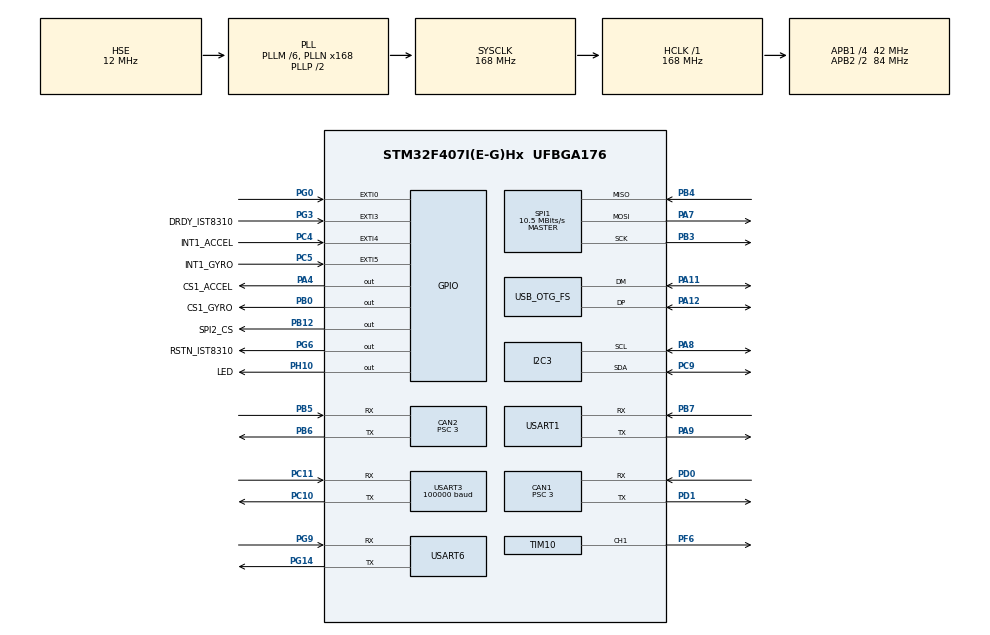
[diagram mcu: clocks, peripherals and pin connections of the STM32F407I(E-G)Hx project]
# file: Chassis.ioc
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CAN1.BS1=CAN_BS1_10TQ
CAN1.BS2=CAN_BS2_3TQ
CAN1.CalculateBaudRate=1000000
CAN1.CalculateTimeBit=1000
CAN1.CalculateTimeQuantum=71.42857142857143
CAN1.Prescaler=3
CAN2.BS1=CAN_BS1_10TQ
CAN2.BS2=CAN_BS2_3TQ
CAN2.CalculateBaudRate=1000000
CAN2.CalculateTimeBit=1000
CAN2.CalculateTimeQuantum=71.42857142857143
CAN2.Prescaler=3
Dma.Request0=SPI1_TX
Dma.Request1=USART3_RX
Dma.Request2=USART3_TX
Dma.Request3=USART6_RX
Dma.Request4=USART6_TX
Dma.Request5=USART1_RX
Dma.Request6=USART1_TX
Dma.Request7=SPI1_RX
Dma.SPI1_RX.7.Direction=DMA_PERIPH_TO_MEMORY
Dma.SPI1_RX.7.FIFOMode=DMA_FIFOMODE_DISABLE
Dma.SPI1_RX.7.Instance=DMA2_Stream2
Dma.SPI1_RX.7.MemDataAlignment=DMA_MDATAALIGN_BYTE
Dma.SPI1_RX.7.MemInc=DMA_MINC_ENABLE
Dma.SPI1_RX.7.Mode=DMA_NORMAL
Dma.SPI1_RX.7.PeriphDataAlignment=DMA_PDATAALIGN_BYTE
Dma.SPI1_RX.7.PeriphInc=DMA_PINC_DISABLE
Dma.SPI1_RX.7.Priority=DMA_PRIORITY_VERY_HIGH
Dma.SPI1_TX.0.Direction=DMA_MEMORY_TO_PERIPH
Dma.SPI1_TX.0.FIFOMode=DMA_FIFOMODE_DISABLE
Dma.SPI1_TX.0.Instance=DMA2_Stream3
Dma.SPI1_TX.0.MemDataAlignment=DMA_MDATAALIGN_BYTE
Dma.SPI1_TX.0.MemInc=DMA_MINC_ENABLE
Dma.SPI1_TX.0.Mode=DMA_NORMAL
Dma.SPI1_TX.0.PeriphDataAlignment=DMA_PDATAALIGN_BYTE
Dma.SPI1_TX.0.PeriphInc=DMA_PINC_DISABLE
Dma.SPI1_TX.0.Priority=DMA_PRIORITY_HIGH
Dma.USART1_RX.5.Direction=DMA_PERIPH_TO_MEMORY
Dma.USART1_RX.5.FIFOMode=DMA_FIFOMODE_DISABLE
Dma.USART1_RX.5.Instance=DMA2_Stream5
Dma.USART1_RX.5.MemDataAlignment=DMA_MDATAALIGN_BYTE
Dma.USART1_RX.5.MemInc=DMA_MINC_ENABLE
Dma.USART1_RX.5.Mode=DMA_NORMAL
Dma.USART1_RX.5.PeriphDataAlignment=DMA_PDATAALIGN_BYTE
Dma.USART1_RX.5.PeriphInc=DMA_PINC_DISABLE
Dma.USART1_RX.5.Priority=DMA_PRIORITY_LOW
Dma.USART1_TX.6.Direction=DMA_MEMORY_TO_PERIPH
Dma.USART1_TX.6.FIFOMode=DMA_FIFOMODE_DISABLE
Dma.USART1_TX.6.Instance=DMA2_Stream7
Dma.USART1_TX.6.MemDataAlignment=DMA_MDATAALIGN_BYTE
Dma.USART1_TX.6.MemInc=DMA_MINC_ENABLE
Dma.USART1_TX.6.Mode=DMA_NORMAL
Dma.USART1_TX.6.PeriphDataAlignment=DMA_PDATAALIGN_BYTE
Dma.USART1_TX.6.PeriphInc=DMA_PINC_DISABLE
Dma.USART1_TX.6.Priority=DMA_PRIORITY_LOW
Dma.USART3_RX.1.Direction=DMA_PERIPH_TO_MEMORY
Dma.USART3_RX.1.FIFOMode=DMA_FIFOMODE_DISABLE
Dma.USART3_RX.1.Instance=DMA1_Stream1
Dma.USART3_RX.1.MemDataAlignment=DMA_MDATAALIGN_BYTE
Dma.USART3_RX.1.MemInc=DMA_MINC_ENABLE
Dma.USART3_RX.1.Mode=DMA_CIRCULAR
Dma.USART3_RX.1.PeriphDataAlignment=DMA_PDATAALIGN_BYTE
Dma.USART3_RX.1.PeriphInc=DMA_PINC_DISABLE
Dma.USART3_RX.1.Priority=DMA_PRIORITY_VERY_HIGH
Dma.USART3_TX.2.Direction=DMA_MEMORY_TO_PERIPH
Dma.USART3_TX.2.FIFOMode=DMA_FIFOMODE_DISABLE
Dma.USART3_TX.2.Instance=DMA1_Stream3
Dma.USART3_TX.2.MemDataAlignment=DMA_MDATAALIGN_BYTE
Dma.USART3_TX.2.MemInc=DMA_MINC_ENABLE
Dma.USART3_TX.2.Mode=DMA_NORMAL
Dma.USART3_TX.2.PeriphDataAlignment=DMA_PDATAALIGN_BYTE
Dma.USART3_TX.2.PeriphInc=DMA_PINC_DISABLE
Dma.USART3_TX.2.Priority=DMA_PRIORITY_VERY_HIGH
Dma.USART6_RX.3.Direction=DMA_PERIPH_TO_MEMORY
Dma.USART6_RX.3.FIFOMode=DMA_FIFOMODE_DISABLE
Dma.USART6_RX.3.Instance=DMA2_Stream1
Dma.USART6_RX.3.MemDataAlignment=DMA_MDATAALIGN_BYTE
Dma.USART6_RX.3.MemInc=DMA_MINC_ENABLE
Dma.USART6_RX.3.Mode=DMA_CIRCULAR
Dma.USART6_RX.3.PeriphDataAlignment=DMA_PDATAALIGN_BYTE
Dma.USART6_RX.3.PeriphInc=DMA_PINC_DISABLE
Dma.USART6_RX.3.Priority=DMA_PRIORITY_LOW
Dma.USART6_TX.4.Direction=DMA_MEMORY_TO_PERIPH
Dma.USART6_TX.4.FIFOMode=DMA_FIFOMODE_DISABLE
Dma.USART6_TX.4.Instance=DMA2_Stream6
Dma.USART6_TX.4.MemDataAlignment=DMA_MDATAALIGN_BYTE
Dma.USART6_TX.4.MemInc=DMA_MINC_ENABLE
Dma.USART6_TX.4.Mode=DMA_NORMAL
Dma.USART6_TX.4.PeriphDataAlignment=DMA_PDATAALIGN_BYTE
Dma.USART6_TX.4.PeriphInc=DMA_PINC_DISABLE
Dma.USART6_TX.4.Priority=DMA_PRIORITY_LOW
FREERTOS.Tasks01=defaultTask,0,128,StartDefaultTask,Default,NULL,Dynamic,NULL,NULL
I2C3.I2C_Mode=I2C_Fast
Mcu.Family=STM32F4
Mcu.Name=STM32F407I(E-G)Hx
Mcu.Package=UFBGA176
NVIC.CAN1_RX0_IRQn=true\:5\:0\:false\:false\:true\:true\:true\:true\:true
NVIC.CAN1_RX1_IRQn=true\:5\:0\:false\:false\:true\:true\:true\:true\:true
NVIC.CAN1_TX_IRQn=true\:5\:0\:false\:false\:true\:true\:true\:true\:true
NVIC.CAN2_RX0_IRQn=true\:5\:0\:true\:false\:true\:true\:true\:true\:true
NVIC.CAN2_TX_IRQn=true\:5\:0\:true\:false\:true\:true\:true\:true\:true
NVIC.DMA1_Stream1_IRQn=true\:5\:0\:false\:false\:true\:true\:false\:true\:true
NVIC.DMA1_Stream3_IRQn=true\:5\:0\:false\:false\:true\:true\:false\:true\:true
NVIC.DMA2_Stream1_IRQn=true\:5\:0\:false\:false\:true\:true\:false\:true\:true
NVIC.DMA2_Stream2_IRQn=true\:5\:0\:false\:false\:true\:true\:false\:true\:true
NVIC.DMA2_Stream3_IRQn=true\:5\:0\:false\:false\:true\:true\:false\:true\:true
NVIC.DMA2_Stream5_IRQn=true\:5\:0\:false\:false\:true\:true\:false\:true\:true
NVIC.DMA2_Stream6_IRQn=true\:5\:0\:false\:false\:true\:true\:false\:true\:true
NVIC.DMA2_Stream7_IRQn=true\:5\:0\:false\:false\:true\:true\:false\:true\:true
NVIC.EXTI0_IRQn=true\:6\:0\:true\:false\:true\:true\:true\:true\:true
NVIC.EXTI4_IRQn=true\:5\:0\:false\:false\:true\:true\:true\:true\:true
NVIC.EXTI9_5_IRQn=true\:5\:0\:false\:false\:true\:true\:true\:true\:true
NVIC.OTG_FS_IRQn=true\:5\:0\:false\:false\:true\:true\:true\:true\:true
NVIC.PriorityGroup=NVIC_PRIORITYGROUP_4
NVIC.SPI1_IRQn=true\:5\:0\:false\:false\:true\:true\:true\:true\:true
NVIC.TIM3_IRQn=true\:15\:0\:false\:false\:true\:false\:false\:true\:true
NVIC.TimeBase=TIM3_IRQn
NVIC.TimeBaseIP=TIM3
NVIC.USART1_IRQn=true\:5\:0\:false\:false\:true\:true\:true\:true\:true
NVIC.USART3_IRQn=true\:5\:0\:false\:false\:true\:true\:true\:true\:true
NVIC.USART6_IRQn=true\:5\:0\:false\:false\:true\:true\:true\:true\:true
PA11.Mode=Device_Only
PA11.Signal=USB_OTG_FS_DM
PA12.Mode=Device_Only
PA12.Signal=USB_OTG_FS_DP
PA13.Mode=Serial_Wire
PA13.Signal=SYS_JTMS-SWDIO
PA14.Mode=Serial_Wire
PA14.Signal=SYS_JTCK-SWCLK
PA4.GPIO_Label=CS1_ACCEL
PA4.GPIO_ModeDefaultOutputPP=GPIO_MODE_OUTPUT_PP
PA4.GPIO_PuPd=GPIO_PULLUP
PA4.GPIO_Speed=GPIO_SPEED_FREQ_HIGH
PA4.PinState=GPIO_PIN_SET
PA4.Signal=GPIO_Output
PA7.GPIO_PuPd=GPIO_PULLUP
PA7.Mode=Full_Duplex_Master
PA7.Signal=SPI1_MOSI
PA8.Mode=I2C
PA8.Signal=I2C3_SCL
PA9.Mode=Asynchronous
PA9.Signal=USART1_TX
PB0.GPIO_Label=CS1_GYRO
PB0.GPIO_ModeDefaultOutputPP=GPIO_MODE_OUTPUT_PP
PB0.GPIO_PuPd=GPIO_PULLUP
PB0.GPIO_Speed=GPIO_SPEED_FREQ_HIGH
PB0.PinState=GPIO_PIN_SET
PB0.Signal=GPIO_Output
PB12.GPIO_Label=SPI2_CS
PB12.GPIO_ModeDefaultOutputPP=GPIO_MODE_OUTPUT_PP
PB12.GPIO_PuPd=GPIO_PULLUP
PB12.GPIO_Speed=GPIO_SPEED_FREQ_MEDIUM
PB12.PinState=GPIO_PIN_SET
PB12.Signal=GPIO_Output
PB3.GPIO_PuPd=GPIO_PULLUP
PB3.Mode=Full_Duplex_Master
PB3.Signal=SPI1_SCK
PB4.GPIO_PuPd=GPIO_PULLUP
PB4.Mode=Full_Duplex_Master
PB4.Signal=SPI1_MISO
PB5.Mode=CAN_Activate
PB5.Signal=CAN2_RX
PB6.Mode=CAN_Activate
PB6.Signal=CAN2_TX
PB7.Mode=Asynchronous
PB7.Signal=USART1_RX
PC10.Mode=Asynchronous
PC10.Signal=USART3_TX
PC11.Mode=Asynchronous
PC11.Signal=USART3_RX
PC4.GPIO_Label=INT1_ACCEL
PC4.GPIO_PuPd=GPIO_PULLUP
PC4.Signal=GPXTI4
PC5.GPIO_Label=INT1_GYRO
PC5.GPIO_PuPd=GPIO_PULLUP
PC5.Signal=GPXTI5
PC9.Mode=I2C
PC9.Signal=I2C3_SDA
PD0.Mode=CAN_Activate
PD0.Signal=CAN1_RX
PD1.Mode=CAN_Activate
PD1.Signal=CAN1_TX
PF6.GPIO_PuPd=GPIO_PULLUP
PF6.GPIO_Speed=GPIO_SPEED_FREQ_HIGH
PF6.Signal=S_TIM10_CH1
PG0.GPIO_PuPd=GPIO_PULLUP
PG0.Signal=GPXTI0
PG14.Mode=Asynchronous
PG14.Signal=USART6_TX
PG3.GPIO_Label=DRDY_IST8310
PG3.GPIO_PuPd=GPIO_PULLUP
PG3.Signal=GPXTI3
PG6.GPIO_Label=RSTN_IST8310
PG6.GPIO_PuPd=GPIO_PULLUP
PG6.GPIO_Speed=GPIO_SPEED_FREQ_MEDIUM
PG6.PinState=GPIO_PIN_SET
PG6.Signal=GPIO_Output
PG9.Mode=Asynchronous
PG9.Signal=USART6_RX
PH0-OSC_IN.Mode=HSE-External-Oscillator
PH0-OSC_IN.Signal=RCC_OSC_IN
PH1-OSC_OUT.Mode=HSE-External-Oscillator
PH1-OSC_OUT.Signal=RCC_OSC_OUT
PH10.GPIO_Label=LED
PH10.GPIO_ModeDefaultOutputPP=GPIO_MODE_OUTPUT_PP
PH10.GPIO_PuPd=GPIO_PULLUP
PH10.PinState=GPIO_PIN_SET
PH10.Signal=GPIO_Output
ProjectManager.HeapSize=0x2000
ProjectManager.StackSize=0x2000
ProjectManager.TargetToolchain=MDK-ARM V5.32
RCC.48MHZClocksFreq_Value=48000000
RCC.AHBFreq_Value=168000000
RCC.APB1CLKDivider=RCC_HCLK_DIV4
RCC.APB1Freq_Value=42000000
RCC.APB1TimFreq_Value=84000000
RCC.APB2CLKDivider=RCC_HCLK_DIV2
RCC.APB2Freq_Value=84000000
RCC.APB2TimCLKDivider=2
RCC.APB2TimFreq_Value=168000000
RCC.CortexFreq_Value=168000000
RCC.HCLKFreq_Value=168000000
RCC.HSE_VALUE=12000000
RCC.HSI_VALUE=16000000
RCC.LSE_VALUE=32768
RCC.PLLM=6
RCC.PLLN=168
RCC.PLLQ=7
RCC.SYSCLKFreq_VALUE=168000000
RCC.SYSCLKSource=RCC_SYSCLKSOURCE_PLLCLK
RCC.VCOOutputFreq_Value=336000000
SH.S_TIM10_CH1.0=TIM10_CH1,PWM Generation1 CH1
SPI1.BaudRatePrescaler=SPI_BAUDRATEPRESCALER_8
SPI1.CLKPhase=SPI_PHASE_2EDGE
SPI1.CLKPolarity=SPI_POLARITY_HIGH
SPI1.CalculateBaudRate=10.5 MBits/s
SPI1.Direction=SPI_DIRECTION_2LINES
SPI1.Mode=SPI_MODE_MASTER
SPI1.VirtualType=VM_MASTER
TIM10.Channel=TIM_CHANNEL_1
USART1.VirtualMode=VM_ASYNC
USART3.BaudRate=100000
USART3.VirtualMode=VM_ASYNC
USART6.VirtualMode=VM_ASYNC
USB_DEVICE.CLASS_NAME_FS=CDC
USB_DEVICE.VirtualMode-CDC_FS=Cdc
USB_DEVICE.VirtualModeFS=Cdc_FS
USB_OTG_FS.VirtualMode=Device_Only
VP_FREERTOS_VS_CMSIS_V1.Mode=CMSIS_V1
VP_SYS_VS_tim3.Mode=TIM3
VP_TIM10_VS_ClockSourceINT.Mode=Enable_Timer
VP_USB_DEVICE_VS_USB_DEVICE_CDC_FS.Mode=CDC_FS
board=custom

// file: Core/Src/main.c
/* USER CODE BEGIN Header */
/**
  ******************************************************************************
  * @file           : main.c
  * @brief          : Main program body
  ******************************************************************************
  * @attention
  *
  * Copyright (c) 2023 STMicroelectronics.
  * All rights reserved.
  *
  * This software is licensed under terms that can be found in the LICENSE file
  * in the root directory of this software component.
  * If no LICENSE file comes with this software, it is provided AS-IS.
  *
  ******************************************************************************
  */
/* USER CODE END Header */
#include "main.h"
#include "cmsis_os.h"
#include "can.h"
#include "dma.h"
#include "i2c.h"
#include "spi.h"
#include "tim.h"
#include "usart.h"
#include "usb_device.h"
#include "gpio.h"

/* USER CODE BEGIN Includes */
#include "drv_usart.h"
#include "user_can.h"
#include "communication.h"
#include "string.h"
#include "bsp_delay.h"
/* USER CODE END Includes */

void SystemClock_Config(void);
void MX_FREERTOS_Init(void);

/* USER CODE BEGIN 0 */
extern uint8_t rx_buffer[128];

int fputc(int ch, FILE *f)

{

  HAL_UART_Transmit(&huart1, (uint8_t *)&ch, 1, 0xffff);

  return ch;

}
/* USER CODE END 0 */

int main(void)
{

  /* MCU Configuration--------------------------------------------------------*/

  /* Reset of all peripherals, Initializes the Flash interface and the Systick. */
  HAL_Init();

  /* Configure the system clock */
  SystemClock_Config();

  /* Initialize all configured peripherals */
  MX_GPIO_Init();
  MX_DMA_Init();
  MX_CAN2_Init();
  MX_CAN1_Init();
  MX_SPI1_Init();
  MX_I2C3_Init();
  MX_USART3_UART_Init();
  MX_USART6_UART_Init();
  MX_USART1_UART_Init();
  MX_TIM10_Init();
  /* USER CODE BEGIN 2 */
	delay_init();
	HAL_TIM_PWM_Start(&htim10,TIM_CHANNEL_1);
	CAN1_Init();
	CAN2_Init();
  HAL_GPIO_WritePin(LED_GPIO_Port, LED_Pin, GPIO_PIN_SET);
	USART3_Init();
	USART6_Init();
	//__HAL_UART_ENABLE_IT(&huart1,UART_IT_IDLE); //导航数据接收
	HAL_UART_Receive_IT(&huart1,(uint8_t *)rx_buffer,sizeof(rx_buffer));
  /* USER CODE END 2 */

  /* Call init function for freertos objects (in freertos.c) */
  MX_FREERTOS_Init();

  /* Start scheduler */
  osKernelStart();

  /* We should never get here as control is now taken by the scheduler */
  /* Infinite loop */
  while (1)
  {

  }
}

void SystemClock_Config(void)
{
  RCC_OscInitTypeDef RCC_OscInitStruct = {0};
  RCC_ClkInitTypeDef RCC_ClkInitStruct = {0};

  /** Configure the main internal regulator output voltage
  */
  __HAL_RCC_PWR_CLK_ENABLE();
  __HAL_PWR_VOLTAGESCALING_CONFIG(PWR_REGULATOR_VOLTAGE_SCALE1);

  /** Initializes the RCC Oscillators according to the specified parameters
  * in the RCC_OscInitTypeDef structure.
  */
  RCC_OscInitStruct.OscillatorType = RCC_OSCILLATORTYPE_HSE;
  RCC_OscInitStruct.HSEState = RCC_HSE_ON;
  RCC_OscInitStruct.PLL.PLLState = RCC_PLL_ON;
  RCC_OscInitStruct.PLL.PLLSource = RCC_PLLSOURCE_HSE;
  RCC_OscInitStruct.PLL.PLLM = 6;
  RCC_OscInitStruct.PLL.PLLN = 168;
  RCC_OscInitStruct.PLL.PLLP = RCC_PLLP_DIV2;
  RCC_OscInitStruct.PLL.PLLQ = 7;
  if (HAL_RCC_OscConfig(&RCC_OscInitStruct) != HAL_OK)
  {
    Error_Handler();
  }

  /** Initializes the CPU, AHB and APB buses clocks
  */
  RCC_ClkInitStruct.ClockType = RCC_CLOCKTYPE_HCLK|RCC_CLOCKTYPE_SYSCLK
                              |RCC_CLOCKTYPE_PCLK1|RCC_CLOCKTYPE_PCLK2;
  RCC_ClkInitStruct.SYSCLKSource = RCC_SYSCLKSOURCE_PLLCLK;
  RCC_ClkInitStruct.AHBCLKDivider = RCC_SYSCLK_DIV1;
  RCC_ClkInitStruct.APB1CLKDivider = RCC_HCLK_DIV4;
  RCC_ClkInitStruct.APB2CLKDivider = RCC_HCLK_DIV2;

  if (HAL_RCC_ClockConfig(&RCC_ClkInitStruct, FLASH_LATENCY_5) != HAL_OK)
  {
    Error_Handler();
  }
}

void HAL_TIM_PeriodElapsedCallback(TIM_HandleTypeDef *htim)
{
  if (htim->Instance == TIM3) {
    HAL_IncTick();
  }
}

void Error_Handler(void)
{
  __disable_irq();
  while (1)
  {
  }
}

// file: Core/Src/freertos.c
/* USER CODE BEGIN Header */
/**
  ******************************************************************************
  * File Name          : freertos.c
  * Description        : Code for freertos applications
  ******************************************************************************
  * @attention
  *
  * Copyright (c) 2023 STMicroelectronics.
  * All rights reserved.
  *
  * This software is licensed under terms that can be found in the LICENSE file
  * in the root directory of this software component.
  * If no LICENSE file comes with this software, it is provided AS-IS.
  *
  ******************************************************************************
  */
/* USER CODE END Header */

#include "FreeRTOS.h"
#include "task.h"
#include "main.h"
#include "cmsis_os.h"

/* USER CODE BEGIN Includes */
#include "chassis.h"
#include "rc_potocal.h"
#include "INS_task.h"
#include "yaw_task.h"
#include "NRF24L01.h"
/* USER CODE END Includes */

/* USER CODE BEGIN Variables */
osThreadId ChassisHandle;
osThreadId InsTaskHandle;
osThreadId yawHandle;
osThreadId DCXHandle;
/* USER CODE END Variables */
osThreadId defaultTaskHandle;

void StartDefaultTask(void const * argument);

extern void MX_USB_DEVICE_Init(void);
void MX_FREERTOS_Init(void); /* (MISRA C 2004 rule 8.1) */

/* GetIdleTaskMemory prototype (linked to static allocation support) */
void vApplicationGetIdleTaskMemory( StaticTask_t **ppxIdleTaskTCBBuffer, StackType_t **ppxIdleTaskStackBuffer, uint32_t *pulIdleTaskStackSize );

/* USER CODE BEGIN GET_IDLE_TASK_MEMORY */
static StaticTask_t xIdleTaskTCBBuffer;
static StackType_t xIdleStack[configMINIMAL_STACK_SIZE];

void vApplicationGetIdleTaskMemory( StaticTask_t **ppxIdleTaskTCBBuffer, StackType_t **ppxIdleTaskStackBuffer, uint32_t *pulIdleTaskStackSize )
{
  *ppxIdleTaskTCBBuffer = &xIdleTaskTCBBuffer;
  *ppxIdleTaskStackBuffer = &xIdleStack[0];
  *pulIdleTaskStackSize = configMINIMAL_STACK_SIZE;
  /* place for user code */
}
/* USER CODE END GET_IDLE_TASK_MEMORY */

void MX_FREERTOS_Init(void) {

  /* Create the thread(s) */
  /* definition and creation of defaultTask */
  osThreadDef(defaultTask, StartDefaultTask, osPriorityNormal, 0, 128);
  defaultTaskHandle = osThreadCreate(osThread(defaultTask), NULL);

  /* USER CODE BEGIN RTOS_THREADS */
  osThreadDef(Receive,Chassis,osPriorityNormal,0,1024);
  ChassisHandle = osThreadCreate(osThread(Receive),NULL);

	  osThreadDef(dcx,DCX_TASK,osPriorityNormal,0,512);
  DCXHandle = osThreadCreate(osThread(dcx),NULL);

	  osThreadDef(yaw,supercap,osPriorityNormal,0,128);
  yawHandle = osThreadCreate(osThread(yaw),NULL);
//
	osThreadDef(InsTask,INS_task,osPriorityRealtime,0,1024);
	InsTaskHandle = osThreadCreate(osThread(InsTask),NULL);
  /* USER CODE END RTOS_THREADS */

}

void StartDefaultTask(void const * argument)
{
  /* init code for USB_DEVICE */
  MX_USB_DEVICE_Init();
  for(;;)
  {
    osDelay(1);
  }
}
